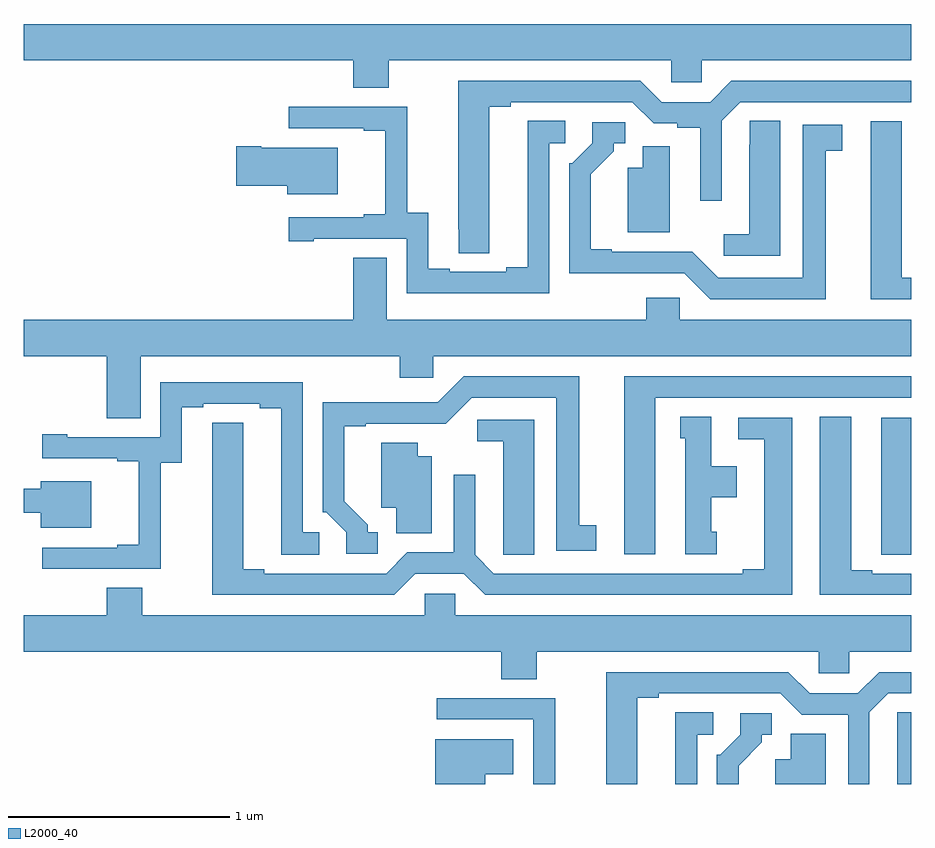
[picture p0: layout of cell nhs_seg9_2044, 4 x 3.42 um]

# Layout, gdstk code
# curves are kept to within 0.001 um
import gdstk
lib = gdstk.Library(unit=1e-6, precision=1e-09)
def P(c, l, *ps):  # polygons
    for p in ps: c.add(gdstk.Polygon(p, *l))
L2000_40 = (2000, 40)

nhs_seg9_2044 = lib.new_cell('nhs_seg9_2044')
P(nhs_seg9_2044, L2000_40, [(228.645,1189.76),(229.917,1189.76),(229.917,1189.662),(230.055,1189.662),(230.055,1189.76),(231,1189.76),(231,1189.924),(227,1189.924),(227,1189.76),(228.485,1189.76),(228.485,1189.636),(228.645,1189.636)],
  [(229.099,1189.552),(229.195,1189.552),(229.195,1189.572),(229.743,1189.572),(229.839,1189.476),(229.944,1189.476),(229.944,1189.456),(230.048,1189.456),(230.048,1189.128),(230.145,1189.128),(230.145,1189.488),(230.229,1189.572),(231,1189.572),(231,1189.668),(230.189,1189.668),(230.093,1189.572),(229.875,1189.572),(229.779,1189.668),(228.959,1189.668),(228.96,1188.892),(229.099,1188.892)],
  [(229.368,1189.386),(229.441,1189.386),(229.441,1189.487),(229.271,1189.487),(229.271,1188.827),(229.175,1188.827),(229.175,1188.807),(228.919,1188.807),(228.919,1188.822),(228.823,1188.822),(228.823,1189.073),(228.729,1189.073),(228.729,1189.551),(228.195,1189.551),(228.195,1189.455),(228.533,1189.455),(228.533,1189.443),(228.629,1189.443),(228.629,1189.066),(228.533,1189.066),(228.533,1189.053),(228.195,1189.053),(228.195,1188.945),(228.307,1188.945),(228.307,1188.957),(228.726,1188.957),(228.726,1188.711),(229.368,1188.711)],
  [(230.41,1189.487),(230.271,1189.487),(230.271,1189.379),(230.27,1189.379),(230.27,1188.976),(230.154,1188.976),(230.154,1188.879),(230.41,1188.879)],
  [(231,1188.78),(230.956,1188.78),(230.956,1189.486),(230.816,1189.486),(230.816,1188.684),(231,1188.684)],
  [(230.614,1189.354),(230.689,1189.354),(230.689,1189.47),(230.51,1189.47),(230.51,1188.78),(230.13,1188.78),(230.013,1188.897),(229.651,1188.897),(229.651,1188.91),(229.555,1188.91),(229.555,1189.246),(229.66,1189.351),(229.66,1189.386),(229.71,1189.386),(229.71,1189.482),(229.563,1189.482),(229.563,1189.386),(229.473,1189.296),(229.458,1189.296),(229.458,1188.8),(229.977,1188.801),(230.094,1188.684),(230.614,1188.684)],
  [(228.415,1189.366),(228.07,1189.366),(228.07,1189.374),(227.958,1189.374),(227.958,1189.196),(228.188,1189.196),(228.188,1189.157),(228.415,1189.157)],
  [(229.912,1189.374),(229.79,1189.374),(229.79,1189.276),(229.721,1189.276),(229.721,1188.986),(229.912,1188.986)],
  [(227.527,1188.428),(228.695,1188.428),(228.695,1188.33),(228.846,1188.33),(228.846,1188.428),(231,1188.428),(231,1188.592),(229.956,1188.592),(229.956,1188.69),(229.805,1188.69),(229.805,1188.592),(228.637,1188.592),(228.637,1188.872),(228.485,1188.872),(228.485,1188.592),(227,1188.592),(227,1188.428),(227.375,1188.428),(227.375,1188.148),(227.527,1188.148)],
  [(229.846,1188.24),(231,1188.24),(231,1188.336),(229.706,1188.336),(229.706,1187.535),(229.846,1187.535)],
  [(228.595,1187.634),(228.55,1187.634),(228.55,1187.669),(228.445,1187.774),(228.445,1188.111),(228.541,1188.111),(228.541,1188.123),(228.902,1188.122),(229.02,1188.24),(229.4,1188.24),(229.4,1187.55),(229.579,1187.55),(229.579,1187.666),(229.504,1187.666),(229.504,1188.336),(228.984,1188.336),(228.867,1188.219),(228.611,1188.219),(228.611,1188.221),(228.348,1188.221),(228.348,1187.724),(228.363,1187.724),(228.453,1187.634),(228.453,1187.538),(228.595,1187.538)],
  [(227.619,1187.947),(227.713,1187.947),(227.713,1188.198),(227.809,1188.198),(227.809,1188.213),(228.065,1188.213),(228.065,1188.193),(228.161,1188.193),(228.161,1187.533),(228.331,1187.533),(228.331,1187.634),(228.258,1187.634),(228.258,1188.309),(227.616,1188.309),(227.616,1188.063),(227.197,1188.063),(227.197,1188.076),(227.085,1188.076),(227.085,1187.967),(227.423,1187.967),(227.423,1187.955),(227.519,1187.955),(227.519,1187.578),(227.423,1187.578),(227.423,1187.565),(227.085,1187.565),(227.085,1187.469),(227.619,1187.469)],
  [(231,1187.448),(230.824,1187.448),(230.824,1187.463),(230.728,1187.463),(230.728,1188.155),(230.588,1188.155),(230.588,1187.352),(231,1187.352)],
  [(230.122,1187.637),(230.098,1187.637),(230.098,1187.792),(230.212,1187.792),(230.212,1187.932),(230.098,1187.932),(230.098,1188.155),(229.958,1188.155),(229.958,1188.057),(229.982,1188.057),(229.982,1187.535),(230.122,1187.535)],
  [(231,1188.151),(230.864,1188.151),(230.864,1187.641),(230.865,1187.641),(230.865,1187.533),(231,1187.533)],
  [(228.765,1187.448),(228.983,1187.448),(229.079,1187.352),(230.464,1187.352),(230.464,1188.15),(230.22,1188.15),(230.22,1188.054),(230.336,1188.054),(230.336,1187.468),(230.24,1187.468),(230.24,1187.448),(229.119,1187.448),(229.035,1187.532),(229.035,1187.893),(228.939,1187.893),(228.939,1187.544),(228.729,1187.544),(228.633,1187.448),(228.085,1187.448),(228.085,1187.468),(227.989,1187.468),(227.989,1188.128),(227.85,1188.128),(227.849,1187.352),(228.669,1187.352)],
  [(229.3,1188.141),(229.044,1188.141),(229.044,1188.044),(229.16,1188.044),(229.16,1187.641),(229.161,1187.641),(229.161,1187.533),(229.3,1187.533)],
  [(228.838,1187.977),(228.775,1187.977),(228.775,1188.038),(228.611,1188.038),(228.611,1187.744),(228.68,1187.744),(228.68,1187.629),(228.838,1187.629)],
  [(227.305,1187.863),(227.078,1187.863),(227.078,1187.83),(227,1187.83),(227,1187.721),(227.078,1187.721),(227.078,1187.654),(227.305,1187.654)],
  [(229.311,1187.096),(230.583,1187.096),(230.583,1186.998),(230.721,1186.998),(230.721,1187.096),(231,1187.096),(231,1187.26),(228.945,1187.26),(228.945,1187.358),(228.807,1187.358),(228.807,1187.26),(227.535,1187.26),(227.535,1187.384),(227.375,1187.384),(227.375,1187.26),(227,1187.26),(227,1187.096),(229.151,1187.096),(229.151,1186.972),(229.311,1186.972)],
  [(229.765,1186.888),(229.861,1186.888),(229.861,1186.908),(230.409,1186.908),(230.505,1186.812),(230.715,1186.812),(230.715,1186.5),(230.811,1186.5),(230.811,1186.824),(230.895,1186.908),(231,1186.908),(231,1187.004),(230.855,1187.004),(230.759,1186.908),(230.541,1186.908),(230.445,1187.004),(229.625,1187.004),(229.625,1186.5),(229.765,1186.5)],
  [(229.395,1186.887),(228.861,1186.887),(228.861,1186.791),(229.296,1186.791),(229.296,1186.5),(229.395,1186.5)],
  [(231,1186.823),(230.937,1186.823),(230.937,1186.715),(230.936,1186.715),(230.936,1186.5),(231,1186.5)],
  [(230.034,1186.722),(230.107,1186.722),(230.107,1186.823),(229.937,1186.823),(229.937,1186.5),(230.034,1186.5)],
  [(230.221,1186.582),(230.326,1186.687),(230.326,1186.722),(230.371,1186.722),(230.371,1186.818),(230.229,1186.818),(230.229,1186.722),(230.139,1186.632),(230.124,1186.632),(230.124,1186.5),(230.221,1186.5)],
  [(230.614,1186.727),(230.456,1186.727),(230.456,1186.612),(230.387,1186.612),(230.387,1186.5),(230.614,1186.5)],
  [(229.081,1186.544),(229.207,1186.544),(229.207,1186.702),(228.854,1186.702),(228.854,1186.5),(229.081,1186.5)])

lib.write_gds('nhs_seg9_2044.gds')
